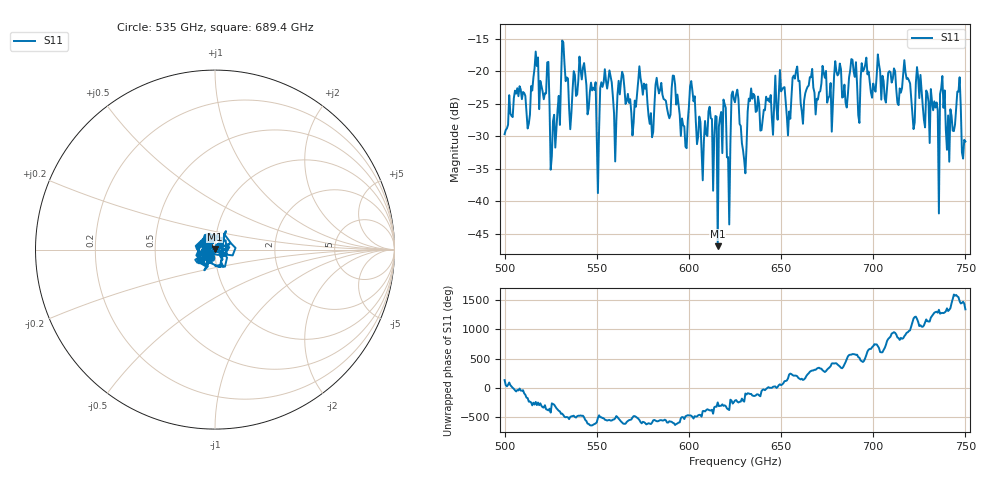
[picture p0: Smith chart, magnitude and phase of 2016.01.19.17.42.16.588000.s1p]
!Created with skrf (http://scikit-rf.org).
# GHz S RI R 50.0
!freq ReS11 ImS11
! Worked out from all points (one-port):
!   401 points, 500 GHz to 750 GHz, reference 50 ohm
!   lowest |S11| = -46.9 dB at 615.6 GHz (marker M1), VSWR 1.01, Z = 49.8 + j0.422 ohm
!   |S11| at or under -10 dB: start of sweep to end of sweep
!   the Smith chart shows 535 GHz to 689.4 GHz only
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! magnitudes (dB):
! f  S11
! 500 GHz  -29.7
! 513.1 GHz  -28.1
! 516.9 GHz  -17.0
! 523.1 GHz  -18.6
! 526.2 GHz  -27.7
! 531.2 GHz  -15.3
! 535.6 GHz  -28.9
! 541.9 GHz  -21.3
! 550 GHz  -30.5
! 553.1 GHz  -22.4
! 560 GHz  -33.9
! 562.5 GHz  -23.6
! 579.4 GHz  -26.4
! 593.8 GHz  -23.6
! 615.6 GHz  -46.9
! 618.8 GHz  -24.4
! 621.9 GHz  -43.6
! 625 GHz  -24.8
! 630 GHz  -33.7
! 633.8 GHz  -22.6
! 656.2 GHz  -21.0
! 687.5 GHz  -19.9
! 718.8 GHz  -21.1
! 734.4 GHz  -24.8
! 737.5 GHz  -20.7
! 740.6 GHz  -26.8
! 746.2 GHz  -23.1
! 750 GHz  -30.8
